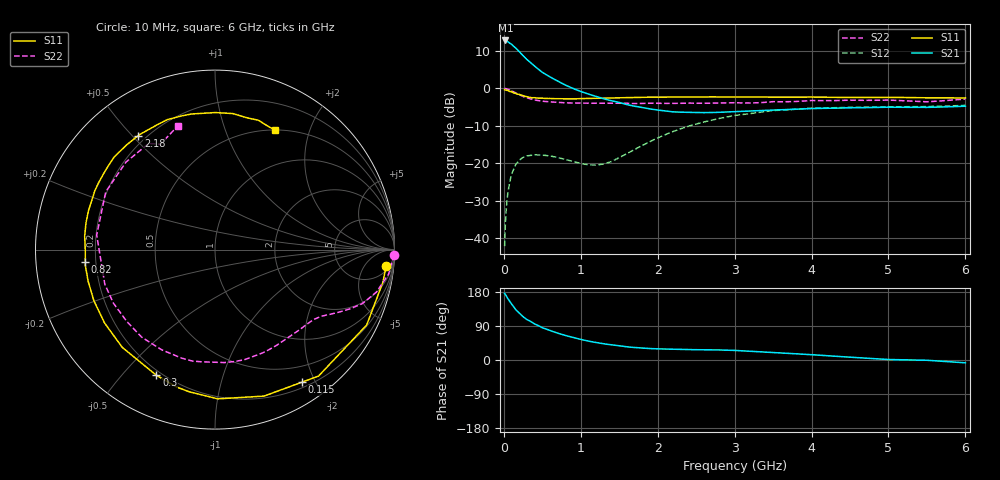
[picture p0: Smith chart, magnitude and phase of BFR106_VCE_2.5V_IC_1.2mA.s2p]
! Infineon Technologies  Discrete & RF Semiconductors
! BFR106
! VCE =  2.5 V,  IC =  1.2 mA
! Common Emitter S-Parameters:  Nov 2015
# GHz  S  MA  R  50
!  f  S11  S21  S12  S22
! GHz  MAG  ANG  MAG  ANG  MAG  ANG  MAG  ANG
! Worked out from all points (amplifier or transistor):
!   210 points, 10 MHz to 6 GHz, reference 50 ohm
!   highest |S21| = 12.8 dB at 20 MHz (marker M1)
!   |S21| within 3 dB of that: start of sweep to 201.6 MHz
!   unconditionally stable (mu >= 1): 837.5 MHz to end of sweep
!   at 185 MHz: K = 0.21, MSG = 14.9 dB, |S12| = -19.6 dB
!   at 1.52 GHz: K = 1.33, MAG = 3.8 dB, |S12| = -18.3 dB
!   at 6 GHz: K = 1.02, MAG = -1.0 dB, |S12| = -4.6 dB
!   S11 on the Smith chart (normalised r, x): 10 MHz: 8, -17; 115 MHz: 0.27, -1.82; 300 MHz: 0.18, -0.62; 820 MHz: 0.16, -0.05; 2.18 GHz: 0.17, +0.52; 6 GHz: 0.50, +1.51
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0.01  0.9576 -5.5  4.358 175.8  0.0078 88.0  0.9989 -1.7
0.02  0.9533 -10.8  4.361 173.3  0.0157 84.7  0.9914 -3.3
0.05  0.9438 -26.4  4.221 162.4  0.0386 75.1  0.977 -8.0
0.1  0.9107 -50.7  3.888 147.8  0.0711 62.4  0.9295 -14.8
0.115  0.8836 -56.7  3.745 143.9  0.0776 58.1  0.912 -16.4
0.15  0.8607 -71.5  3.489 133.7  0.0942 50.6  0.8738 -20.2
0.2  0.8317 -88.9  3.1 123.5  0.1098 42.6  0.823 -23.6
0.24  0.8049 -100.4  2.798 116.1  0.1179 36.9  0.7868 -25.9
0.3  0.7727 -115.0  2.428 106.8  0.1253 30.7  0.7463 -28.6
0.4  0.7508 -133.5  1.977 95.1  0.1297 23.3  0.6986 -32.1
0.5  0.7387 -146.5  1.636 85.3  0.1285 18.8  0.673 -35.4
0.64  0.7287 -160.7  1.348 75.0  0.1228 15.9  0.6554 -40.7
0.82  0.7261 -174.4  1.083 63.7  0.111 16.6  0.6401 -48.0
1.02  0.7302 172.9  0.893 53.4  0.0983 24.3  0.6344 -56.8
1.4  0.7458 153.9  0.682 39.9  0.1054 53.5  0.635 -75.1
2.02  0.7633 129.4  0.51 29.3  0.2222 68.1  0.6315 -108.2
2.18  0.7656 123.9  0.488 28.3  0.2603 66.2  0.6315 -117.0
2.8  0.7684 105.0  0.478 26.5  0.3963 52.4  0.6399 -152.2
3.1  0.7644 98.0  0.494 24.2  0.4464 44.4  0.6381 -167.5
4.1  0.762 81.3  0.539 12.7  0.5457 21.1  0.6853 148.8
5.1  0.7572 70.5  0.559 0.9  0.5669 4.9  0.6898 121.1
6  0.7445 63.2  0.577 -7.4  0.5922 -5.5  0.7194 106.8
